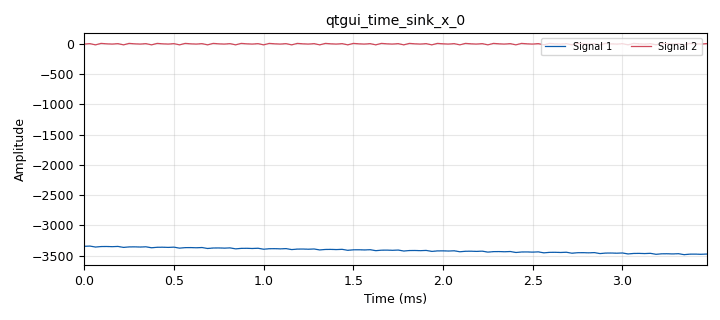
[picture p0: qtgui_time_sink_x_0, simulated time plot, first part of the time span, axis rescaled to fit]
options:
  parameters:
    generate_options: qt_gui
    id: COmandoPython
    output_language: python
    title: Not titled yet
  states: {}

blocks:
- name: samp_rate
  id: variable
  parameters:
    value: '32000'
  states: {}
- name: blocks_throttle_0
  id: blocks_throttle
  parameters:
    samples_per_second: samp_rate
    type: float
  states: {}
- name: blocks_vector_source_x_0
  id: blocks_vector_source_x
  parameters:
    repeat: 'True'
    type: float
    vector: (1, -3, 4, -16, 8)
  states: {}
- name: e_cum
  id: epy_block
  parameters:
    _source_code: |
      """
      Embedded Python Blocks:

      Each time this file is saved, GRC will instantiate the first class it finds
      to get ports and parameters of your block. The arguments to __init__  will
      be the parameters. All of them are required to have default values!
      """

      import numpy as np
      from gnuradio import gr


      class blk(gr.sync_block):  # other base classes are basic_block, decim_block, interp_block
          """Embedded Python Block example - a simple multiply const"""

          def __init__(self):  # only default arguments here
              """arguments to this function show up as parameters in GRC"""
              gr.sync_block.__init__(
                  self,
                  name="e_cum",   # will show up in GRC
                  in_sig=[np.float32],
                  out_sig=[np.float32]
              )
              

          def work(self, input_items, output_items):
             x=input_items[0]
             y0=output_items[0]
             y0[:]=np.cumsum(x)
             return len(y0)
  states: {}
- name: qtgui_time_sink_x_0
  id: qtgui_time_sink_x
  parameters:
    nconnections: '2'
    size: '1024'
    srate: samp_rate
    type: float
  states: {}

connections:
- [blocks_throttle_0, '0', e_cum, '0']
- [blocks_throttle_0, '0', qtgui_time_sink_x_0, '1']
- [blocks_vector_source_x_0, '0', blocks_throttle_0, '0']
- [e_cum, '0', qtgui_time_sink_x_0, '0']

metadata:
  file_format: 1
  grc_version: 3.10.5.1
